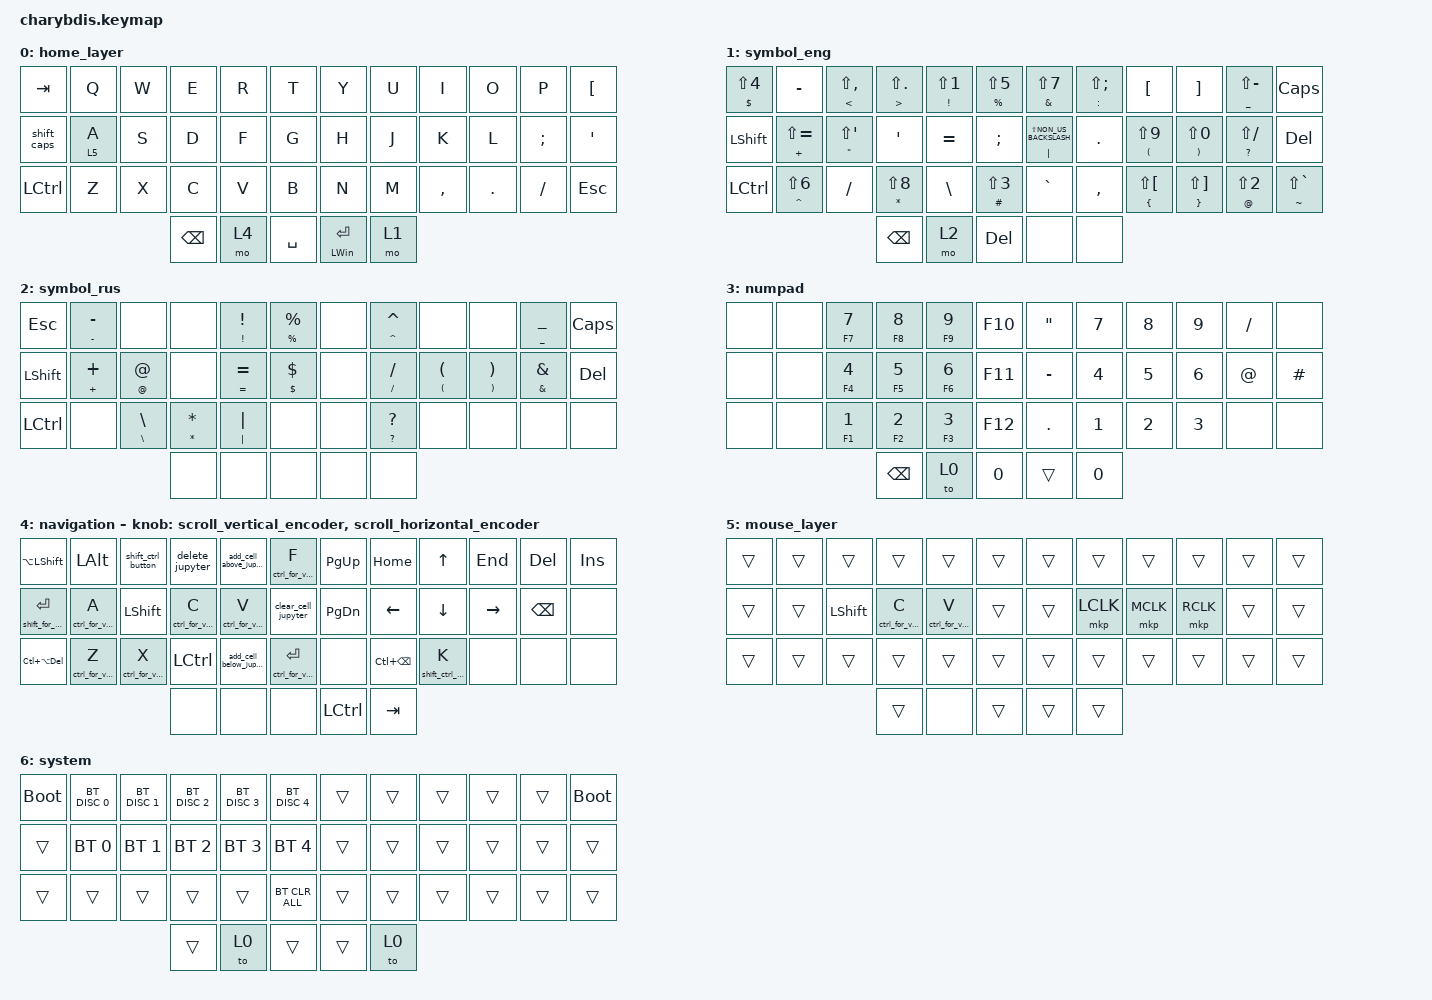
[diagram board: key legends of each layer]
#include <dt-bindings/zmk/mouse.h>
#include <input/processors.dtsi>
#include <zephyr/dt-bindings/input/input-event-codes.h>
#include <behaviors.dtsi>
#include <dt-bindings/zmk/bt.h>
#include <dt-bindings/zmk/keys.h>
#include <dt-bindings/zmk/pointing.h>

#define ZMK_POINTING_DEFAULT_MOVE_VAL 1000 // 600
#define ZMK_POINTING_DEFAULT_SCRL_VAL 12   // 10

&lt {
    tapping-term-ms = <200>;
    flavor = "balanced";
    quick-tap-ms = <150>;
};

&mmv_input_listener { input-processors = <&zip_xy_scaler 1 1>; };

&msc_input_listener { input-processors = <&zip_scroll_scaler 1 1>; };

&msc {
    acceleration-exponent = <0>;      // 0
    time-to-max-speed-ms = <100>;       // 300
    delay-ms = <0>;                   // 0
};

&mmv {
    time-to-max-speed-ms = <500>;
    acceleration-exponent = <1>;
    trigger-period-ms = <16>;
};

/ {
    // 上下滚动编码器行为

    scroll_vertical_encoder: scroll_vertical_encoder {
        compatible = "zmk,behavior-sensor-rotate";
        #sensor-binding-cells = <0>;
        bindings = <&msc SCRL_DOWN>, <&msc SCRL_UP>;

        tap-ms = <100>;
    };

    // 左右滚动编码器行为

    scroll_horizontal_encoder: scroll_horizontal_encoder {
        compatible = "zmk,behavior-sensor-rotate";
        #sensor-binding-cells = <0>;
        bindings = <&msc SCRL_LEFT>, <&msc SCRL_RIGHT>;

        tap-ms = <100>;
    };

    shift_caps: shift_caps {
        compatible = "zmk,behavior-tap-dance";
        label = "SHIFT_CAPS";
        #binding-cells = <0>;
        bindings = <&capital_letter LEFT_SHIFT>, <&capital_word>;

        tapping-term-ms = <300>;
    };

    capital_letter: capital_letter {
        compatible = "zmk,behavior-sticky-key";
        label = "CAPITAL_LETTER";
        bindings = <&kp>;
        #binding-cells = <1>;
        release-after-ms = <2000>;
        quick-release;
    };

    capital_word: capital_word {
        compatible = "zmk,behavior-caps-word";
        label = "CAPITAL_WORD";
        #binding-cells = <0>;
        continue-list = <UNDERSCORE COMMA DOT LEFT_BRACKET RIGHT_BRACKET>;
        mods = <(MOD_LSFT)>;
    };

    trackball_snipe: trackball_snipe {
        compatible = "zmk,behavior-hold-tap";
        label = "TRACKBALL_SNIPE";
        bindings = <&mo>, <&kp>;

        #binding-cells = <2>;
        tapping-term-ms = <180>;
        flavor = "tap-preferred";
    };

    hold: hold {
        compatible = "zmk,behavior-hold-tap";
        label = "HOLD";
        bindings = <&hold_shift>, <&kp>;

        #binding-cells = <2>;
        tapping-term-ms = <180>;
        hold-trigger-on-release;
    };

    behaviors {
    };

    macros {
        delete_jupyter: delete_jupyter {
            compatible = "zmk,behavior-macro";
            #binding-cells = <0>;
            bindings =
                <&macro_tap>,
                <&kp ESCAPE>,
                <&macro_tap>,
                <&kp D>,
                <&macro_tap>,
                <&kp D>,
                <&macro_tap>,
                <&kp ENTER>;

            label = "DELETE_JUPYTER";
        };

        add_cell_above_jupyter: add_cell_above_jupyter {
            compatible = "zmk,behavior-macro";
            #binding-cells = <0>;
            bindings =
                <&macro_tap>,
                <&kp ESCAPE>,
                <&macro_tap>,
                <&kp A>,
                <&macro_tap>,
                <&kp ENTER>;

            label = "ADD_CELL_ABOVE_JUPYTER";
        };

        add_cell_below_jupyter: add_cell_below_jupyter {
            compatible = "zmk,behavior-macro";
            #binding-cells = <0>;
            bindings =
                <&macro_tap>,
                <&kp ESCAPE>,
                <&macro_tap>,
                <&kp B>,
                <&macro_tap>,
                <&kp ENTER>;

            label = "ADD_CELL_BELOW_JUPYTER";
        };

        clear_cell_jupyter: clear_cell_jupyter {
            compatible = "zmk,behavior-macro";
            #binding-cells = <0>;
            bindings =
                <&macro_tap>,
                <&kp ESCAPE>,
                <&macro_press>,
                <&kp LEFT_ALT>,
                <&macro_wait_time 200>,
                <&macro_tap>,
                <&kp C>,
                <&macro_release>,
                <&kp LEFT_ALT>;

            label = "CLEAR_CELL_JUPYTER";
        };

        shift_ctrl_button: shoift_ctrl_vrm {
            compatible = "zmk,behavior-macro";
            #binding-cells = <0>;
            bindings =
                <&macro_press>,
                <&kp LEFT_SHIFT &kp LCTRL>,
                <&macro_pause_for_release>,
                <&macro_release>,
                <&kp LEFT_SHIFT &kp LCTRL>;

            label = "SHOIFT_CTRL_VRM";
        };

        ctrl_for_vrm: ctrl_for_vrm {
            compatible = "zmk,behavior-macro-one-param";
            #binding-cells = <1>;
            bindings =
                <&macro_press>,
                <&kp LCTRL>,
                <&macro_wait_time 200>,
                <&macro_tap>,
                <&macro_param_1to1 &kp MACRO_PLACEHOLDER>,
                <&macro_release>,
                <&kp LCTRL>;

            label = "CTRL_FOR_VRM";
        };

        shift_for_vrm: shift_for_vrm {
            compatible = "zmk,behavior-macro-one-param";
            #binding-cells = <1>;
            bindings =
                <&macro_press>,
                <&kp LEFT_SHIFT>,
                <&macro_wait_time 200>,
                <&macro_tap>,
                <&macro_param_1to1 &kp MACRO_PLACEHOLDER>,
                <&macro_release>,
                <&kp LEFT_SHIFT>;

            label = "SHIFT_FOR_VRM";
        };

        shift_ctrl_vrm: shift_ctrl_vrm {
            compatible = "zmk,behavior-macro-one-param";
            #binding-cells = <1>;
            bindings =
                <&macro_press>,
                <&kp LEFT_SHIFT &kp LCTRL>,
                <&macro_wait_time 200>,
                <&macro_tap>,
                <&macro_param_1to1 &kp MACRO_PLACEHOLDER>,
                <&macro_release>,
                <&kp LEFT_SHIFT &kp LCTRL>;

            label = "SHIFT_CTRL_VRM";
        };

        hold_shift: hold_shift {
            compatible = "zmk,behavior-macro-one-param";
            #binding-cells = <1>;
            bindings =
                <&macro_press>,
                <&kp LEFT_SHIFT>,
                <&macro_tap>,
                <&macro_param_1to1 &kp MACRO_PLACEHOLDER>,
                <&macro_release>,
                <&kp LEFT_SHIFT>;

            label = "HOLD_SHIFT";
        };
    };

    combos {
        compatible = "zmk,combos";

        to_sys_right {
            bindings = <&to 6>;
            key-positions = <11 23>;
        };

        to_sys_left {
            bindings = <&to 6>;
            key-positions = <0 12>;
        };

        to_numpad {
            bindings = <&to 3>;
            key-positions = <40 37>;
        };

        hard {
            bindings = <&kp RIGHT_BRACKET>;
            key-positions = <16 11>;
        };

        left_sk {
            bindings = <&kp LEFT_PARENTHESIS>;
            key-positions = <15 14>;
        };

        left_br {
            bindings = <&kp LEFT_BRACKET>;
            key-positions = <3 2>;
        };

        left_brace {
            bindings = <&kp LEFT_BRACE>;
            key-positions = <27 26>;
        };

        right_sk {
            bindings = <&kp RIGHT_PARENTHESIS>;
            key-positions = <20 21>;
        };

        right_br {
            bindings = <&kp RIGHT_BRACKET>;
            key-positions = <8 9>;
        };

        right_brace {
            bindings = <&kp RIGHT_BRACE>;
            key-positions = <32 33>;
        };

        dot {
            bindings = <&kp DOT>;
            key-positions = <19 20>;
        };

        quotes {
            bindings = <&kp SQT>;
            key-positions = <16 15>;
        };

        comma {
            bindings = <&kp COMMA>;
            key-positions = <20 31>;
        };

        equals {
            bindings = <&kp EQUAL>;
            key-positions = <16 19>;
        };

        plus {
            bindings = <&kp PLUS>;
            key-positions = <4 7>;
        };

        underscore {
            bindings = <&kp UNDERSCORE>;
            key-positions = <15 20>;
        };

        colon {
            bindings = <&kp COLON>;
            key-positions = <19 21>;
        };
    };

    keymap {
        compatible = "zmk,keymap";

        home_layer {
            bindings = <
&kp TAB      &kp Q                 &kp W  &kp E          &kp R  &kp T        &kp Y               &kp U  &kp I      &kp O       &kp P          &kp LEFT_BRACKET
&shift_caps  &trackball_snipe 5 A  &kp S  &kp D          &kp F  &kp G        &kp H               &kp J  &kp K      &kp L       &kp SEMICOLON  &kp SQT
&kp LCTRL    &kp Z                 &kp X  &kp C          &kp V  &kp B        &kp N               &kp M  &kp COMMA  &kp PERIOD  &kp SLASH      &kp ESCAPE
                                          &kp BACKSPACE  &mo 4  &kp SPACE    &mt LEFT_WIN ENTER  &mo 1
            >;
        };

        symbol_eng {
            bindings = <
&hold DOLLAR LS(NUMBER_4)  &kp MINUS                 &hold LESS_THAN LS(COMMA)    &hold GREATER_THAN LS(PERIOD)  &hold EXCLAMATION LS(NUMBER_1)  &hold PERCENT LS(N5)       &hold AMPERSAND LS(N7)           &hold COLON LS(SEMICOLON)  &kp LEFT_BRACKET                   &kp RIGHT_BRACKET                    &hold UNDERSCORE LS(MINUS)  &kp CAPS
&kp LEFT_SHIFT             &hold PLUS LS(EQUAL)      &hold DOUBLE_QUOTES LS(SQT)  &kp SINGLE_QUOTE               &kp EQUAL                       &kp SEMICOLON              &hold PIPE LS(NON_US_BACKSLASH)  &kp DOT                    &hold LEFT_PARENTHESIS LS(N9)      &hold RIGHT_PARENTHESIS LS(N0)       &hold QUESTION LS(SLASH)    &kp DELETE
&kp LCTRL                  &hold CARET LS(NUMBER_6)  &kp SLASH                    &hold STAR LS(N8)              &kp BACKSLASH                   &hold HASH LS(NUMBER_3)    &kp GRAVE                        &kp COMMA                  &hold LEFT_BRACE LS(LEFT_BRACKET)  &hold RIGHT_BRACE LS(RIGHT_BRACKET)  &hold AT_SIGN LS(NUMBER_2)  &hold TILDE LS(GRAVE)
                                                                                  &kp BACKSPACE                  &mo 2                           &kp DELETE                 &none                            &none
            >;
        };

        symbol_rus {
            bindings = <
&kp ESCAPE      &hold MINUS MINUS  &none                      &none            &hold EXCLAMATION EXCLAMATION  &hold PERCENT PERCENT    &none  &hold CARET CARET        &none                                    &none                                      &hold UNDERSCORE UNDERSCORE  &kp CAPS
&kp LEFT_SHIFT  &hold PLUS PLUS    &hold AT_SIGN AT_SIGN      &none            &hold EQUAL EQUAL              &hold DOLLAR DOLLAR      &none  &hold SLASH SLASH        &hold LEFT_PARENTHESIS LEFT_PARENTHESIS  &hold RIGHT_PARENTHESIS RIGHT_PARENTHESIS  &hold AMPERSAND AMPERSAND    &kp DELETE
&kp LCTRL       &none              &hold BACKSLASH BACKSLASH  &hold STAR STAR  &hold PIPE PIPE                &none                    &none  &hold QUESTION QUESTION  &none                                    &none                                      &none                        &none
                                                              &none            &none                          &none                    &none  &none
            >;
        };

        numpad {
            bindings = <
&none  &none  &mt F7 NUMBER_7  &mt F8 NUMBER_8  &mt F9 NUMBER_9  &kp F10    &kp DOUBLE_QUOTES  &kp N7        &kp N8  &kp N9  &kp FSLH  &none
&none  &none  &mt F4 NUMBER_4  &mt F5 NUMBER_5  &mt F6 NUMBER_6  &kp F11    &kp MINUS          &kp N4        &kp N5  &kp N6  &kp AT    &kp HASH
&none  &none  &mt F1 NUMBER_1  &mt F2 NUMBER_2  &mt F3 NUMBER_3  &kp F12    &kp DOT            &kp NUMBER_1  &kp N2  &kp N3  &none     &none
                               &kp BACKSPACE    &to 0            &kp N0     &trans             &kp N0
            >;
        };

        navigation {
            bindings = <
&kp LA(LEFT_SHIFT)    &kp LEFT_ALT     &shift_ctrl_button  &delete_jupyter  &add_cell_above_jupyter  &ctrl_for_vrm F        &kp PG_UP      &kp HOME           &kp UP             &kp END    &kp DEL        &kp INS
&shift_for_vrm ENTER  &ctrl_for_vrm A  &kp LEFT_SHIFT      &ctrl_for_vrm C  &ctrl_for_vrm V          &clear_cell_jupyter    &kp PAGE_DOWN  &kp LEFT           &kp DOWN           &kp RIGHT  &kp BACKSPACE  &none
&kp LC(LA(DELETE))    &ctrl_for_vrm Z  &ctrl_for_vrm X     &kp LCTRL        &add_cell_below_jupyter  &ctrl_for_vrm ENTER    &none          &kp LC(BACKSPACE)  &shift_ctrl_vrm K  &none      &none          &none
                                                           &none            &none                    &none                  &kp LCTRL      &kp TAB
            >;

            sensor-bindings =
                <&scroll_vertical_encoder>,
                // 编码器1：上下滚动,,,,,,,,,,,,,,,,
                <&scroll_horizontal_encoder>;

            // 编码器2：左右滚动
        };

        mouse_layer {
            bindings = <
&trans  &trans  &trans          &trans           &trans           &trans    &trans  &trans     &trans     &trans     &trans  &trans
&trans  &trans  &kp LEFT_SHIFT  &ctrl_for_vrm C  &ctrl_for_vrm V  &trans    &trans  &mkp LCLK  &mkp MCLK  &mkp RCLK  &trans  &trans
&trans  &trans  &trans          &trans           &trans           &trans    &trans  &trans     &trans     &trans     &trans  &trans
                                &trans           &none            &trans    &trans  &trans
            >;
        };

        system {
            bindings = <
&bootloader  &bt BT_DISC 0  &bt BT_DISC 1  &bt BT_DISC 2  &bt BT_DISC 3  &bt BT_DISC 4     &trans  &trans  &trans  &trans  &trans  &bootloader
&trans       &bt BT_SEL 0   &bt BT_SEL 1   &bt BT_SEL 2   &bt BT_SEL 3   &bt BT_SEL 4      &trans  &trans  &trans  &trans  &trans  &trans
&trans       &trans         &trans         &trans         &trans         &bt BT_CLR_ALL    &trans  &trans  &trans  &trans  &trans  &trans
                                           &trans         &to 0          &trans            &trans  &to 0
            >;
        };

        /* layer_2 {
            bindings = <
&none  &none   &none    &none   &none         &none         &kp N1         &none         &none     &none  &none   &to 0
&none  &none   &none    &none   &none         &none         &none         &none          &rgb_ug RGB_BRD &rgb_ug RGB_BRI  &rgb_ug RGB_EFF   &rgb_ug RGB_TOG
&none  &none   &none    &none   &none         &none         &none         &mkp LCLK     &mkp RCLK  &none  &none   &none
&none  &none   &none    &none   &bt BT_NXT  &bt BT_CLR    &none         &none         &none     &none  &none   &none
                                   &none         &none         &none         &none         &none
                                                 &none         &none         &none
            >;
       
            
        };

       Mouse {
            bindings = <
&none        &none         &none         &none         &none      &none         &none       &none      &none         &none         &none         &none
&none        &bt BT_SEL 0  &bt BT_SEL 1  &bt BT_SEL 3  &none      &bt BT_CLR    &bt BT_CLR  &none      &bt BT_SEL 2  &bt BT_SEL 1  &bt BT_SEL 0  &none
&none        &trans        &trans        &mkp MCLK     &trans     &none         &none       &trans     &mkp MCLK     &trans        &trans        &none
&bootloader  &trans        &mkp RCLK     &mo 4         &mkp LCLK  &mo 5         &mo 5       &mkp LCLK  &mo 4         &mkp RCLK     &trans        &bootloader
                                         &mo 5         &mkp LCLK  &mkp RCLK     &mkp RCLK   &mkp LCLK
                                                       &none      &trans        &trans
            >;

            
        };

        layer_4 {
            bindings = <
&trans  &trans  &trans     &trans     &trans     &trans       &trans     &trans     &trans     &trans     &trans  &trans
&trans  &trans  &trans     &trans     &trans     &trans       &trans     &trans     &trans     &trans     &trans  &trans
&trans  &trans  &trans     &mkp MCLK  &trans     &trans       &trans     &trans     &mkp MCLK  &trans     &trans  &trans
&trans  &trans  &mkp RCLK  &trans     &mkp LCLK  &trans       &trans     &mkp LCLK  &trans     &mkp RCLK  &trans  &trans
                           &trans     &mkp LCLK  &mkp RCLK    &mkp RCLK  &mkp LCLK
                                      &trans     &trans       &trans
            >;
                
                
               
        };

        layer_5 {
            bindings = <
&trans  &trans  &trans     &trans     &trans     &trans       &trans     &trans     &trans     &trans     &trans  &trans
&trans  &trans  &trans     &trans     &trans     &trans       &trans     &trans     &trans     &trans     &trans  &trans
&trans  &trans  &trans     &mkp MCLK  &trans     &trans       &trans     &trans     &mkp MCLK  &trans     &trans  &trans
&trans  &trans  &mkp RCLK  &trans     &mkp LCLK  &trans       &trans     &mkp LCLK  &trans     &mkp RCLK  &trans  &trans
                           &trans     &mkp LCLK  &mkp RCLK    &mkp RCLK  &mkp LCLK
                                      &trans     &trans       &trans
            >;
                
                
        };*/
    };
};
